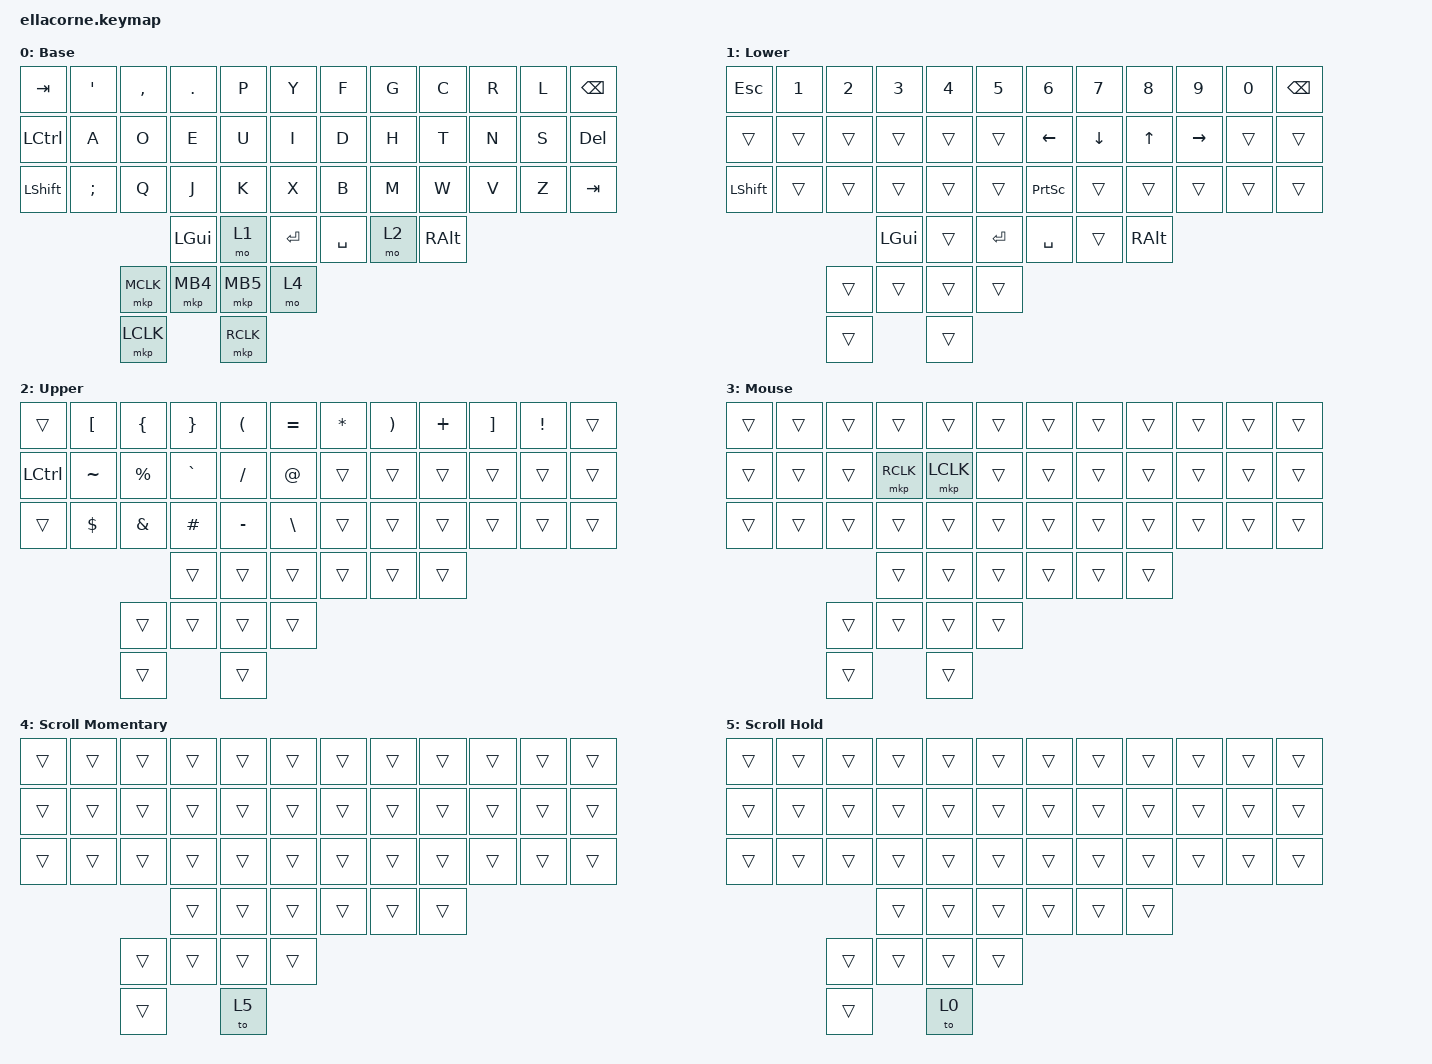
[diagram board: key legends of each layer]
/*
 * Copyright (c) 2020 The ZMK Contributors
 *
 * SPDX-License-Identifier: MIT
 */

#include <behaviors.dtsi>
#include <dt-bindings/zmk/keys.h>
#include <dt-bindings/zmk/bt.h>
#include <dt-bindings/zmk/pointing.h>
#include <dt-bindings/zmk/outputs.h>
#include <input/processors.dtsi>

&mkp_input_listener {
    input-processors = <&zip_temp_layer 3 2000>;

};





/ {
        combos {
                        compatible = "zmk,combos";
                        combo_esc {
                                timeout-ms = <50>;
                                key-positions = <2 3>;
                                bindings = <&mkp RCLK>;
                        };
                };
        behaviors {
                ltm: layer-tap-momentary {
                        compatible = "zmk,behavior-hold-tap";
                        #binding-cells = <2>;
                        flavor = "tap-preferred";
                        tapping-term-ms = <200>;
                        bindings = <&mo>, <&mkp>;
                };
                lth: layer-tap-hold-while-undecided {
                        compatible = "zmk,behavior-hold-tap";
                        #binding-cells = <2>;
                        flavor = "hold-preferred";
                        hold-while-undecided;
                        tapping-term-ms = <150>;
                        bindings = <&mo>, <&mkp>;
                };
                mto: momentary-or-toggle {
                        compatible = "zmk,behavior-hold-tap";
                        #binding-cells = <2>;
                        flavor = "hold-preferred";
                        hold-while-undecided;
                        tapping-term-ms = <200>;
                        bindings = <&mo>, <&to>;
                };
        };

        keymap {
                compatible = "zmk,keymap";

                default_layer {
                        display-name = "Base";
                        // -----------------------------------------------------------------------------------------
                        // |TAB:ESC   | ; : | , < | . > |  P  |  Y  |         | F   |  G   |  C  |  R  |  L  | BKSP |
                        // | CTRL     |  A  |  O  |  E  |  U  |  I  |         |  D  |  H   |  T  |  N  |  S  |  DEL |
                        // | LSFT:CAP |' "  | q @ | J   | K   |  X  |         |  B  |  M   |  W  |  V  |  Z  | TAB  |
                        //                        | GUI | LWR | SPC |         | ENT | RSE  | ALT |
                        //                                         trackball
                        //                               | BTN1 | BTN2 | BTN3 | Scrollm | 
                        //                               | BTN5 |             | BTN6 |                    
                                                bindings = <
                        &kp TAB     &kp APOS  &kp COMMA &kp DOT &kp P &kp Y                   &kp F &kp G  &kp C     &kp R   &kp L    &kp BSPC
                        &kp LCTRL  &kp A    &kp O   &kp E  &kp U &kp I                   &kp D &kp H  &kp T     &kp N   &kp S    &kp DEL
                        &kp LSHIFT  &kp SEMI &kp Q  &kp J  &kp K &kp X                   &kp B &kp M  &kp W     &kp V   &kp Z    &kp TAB
                                                &kp LGUI &mo 1 &kp RET                  &kp SPACE   &mo 2 &kp RALT
                                                                // trackball
                                                &mkp MCLK &mkp MB4 &mkp MB5  &mo 4
                                                &mkp LCLK                    &mkp RCLK
                        >;
               };

                lower_layer {
                        display-name = "Lower";
                                // -----------------------------------------------------------------------------------------
                                // |  TAB |  1  |  2  |  3  |  4  |  5  |   |  6  |  7  |  8  |  9  |  0  | BKSP |
                                // | BTCLR| BT1 | BT2 | BT3 | BT4 | BT5 |   | LFT | DWN |  UP | RGT |     |      |
                                // | SHFT |     |     |     |     |     |   |     |     |     |     |     |      |
                                //                    | GUI |     | SPC |   | ENT |     | ALT |
                        bindings = <
                                &kp ESC    &kp N1       &kp N2       &kp N3       &kp N4       &kp N5         &kp N6   &kp N7   &kp N8 &kp N9    &kp N0 &kp BSPC
                                &trans     &trans       &trans       &trans       &trans       &trans         &kp LEFT &kp DOWN &kp UP &kp RIGHT &trans &trans
                                &kp LSHFT  &trans       &trans       &trans       &trans       &trans         &kp PSCRN   &trans   &trans &trans    &trans &trans
                                                                &kp LGUI     &trans       &kp RET      &kp SPACE  &trans   &kp RALT
                                                                // trackball
                                                        &trans &trans &trans &trans 
                                                        &trans                &trans
                        >;
                };

                raise_layer {
                        display-name = "Upper";
                                // -----------------------------------------------------------------------------------------
                                // |  ESC |  [  |  {  |  }  |  (  |  =  |       |  *  |  )  |  +  |  ]  |  !  | DEL  |
                                // | CTRL |  ~  |  %  |  `  | / ? | @ ^ |       |     |     |     |     |     |      |
                                // | SHFT |  $  |  &  |  #  | - _ | \ | |       |     |     |     |     |     |      |
                                //                    | GUI |     | SPC |       | ENT |     | ALT |
                        bindings = <
                                &trans     &kp LBKT    &kp LBRC     &kp RBRC     &kp LPAR    &kp EQUAL       &kp STAR    &kp RPAR  &kp PLUS  &kp RBKT  &kp EXCL   &trans    
                                &kp LCTRL  &kp TILDE   &kp PRCNT    &kp GRAVE    &kp SLASH     &kp AT        &trans      &trans    &trans    &trans    &trans     &trans
                                &trans     &kp DLLR    &kp AMPS     &kp HASH     &kp MINUS    &kp BACKSLASH         &trans      &trans    &trans    &trans    &trans     &trans
                                                                &trans       &trans      &trans          &trans      &trans    &trans
                                                                // trackball
                                                        &trans &trans &trans &trans 
                                                        &trans                &trans
                        >;
                };

                mouse_layer {
                        display-name = "Mouse";
                                // -----------------------------------------------------------------------------------------
                                // |      |     |     |     |     |     |       |     |     |     |     |     |      |
                                // |      |     |     |     |  RC |  LC |       |     |     |     |     |     |      |
                                // |      |     |     |     |     |     |       |     |     |     |     |     |      |
                                //                    |     |     |     |       |     |     |     |
                        bindings = <
                                &trans  &trans  &trans  &trans  &trans  &trans          &trans      &trans    &trans    &trans    &trans     &trans    
                                &trans  &trans  &trans  &mkp RCLK  &mkp LCLK  &trans          &trans      &trans    &trans    &trans    &trans     &trans
                                &trans  &trans  &trans  &trans  &trans  &trans          &trans      &trans    &trans    &trans    &trans     &trans
                                                        &trans  &trans  &trans          &trans      &trans    &trans
                                                                // trackball
                                                        &trans &trans &trans &trans 
                                                        &trans                &trans
                        >;
                };

                scrollm_layer {
                        display-name = "Scroll Momentary";
                                // -----------------------------------------------------------------------------------------
                                // |      |     |     |     |     |     |       |     |     |     |     |     |      |
                                // |      |     |     |     |     |     |       |     |     |     |     |     |      |
                                // |      |     |     |     |     |     |       |     |     |     |     |     |      |
                                //                    |     |     |     |       |     |     |     |
                        bindings = <
                                &trans  &trans  &trans  &trans  &trans  &trans          &trans      &trans    &trans    &trans    &trans     &trans    
                                &trans  &trans  &trans  &trans  &trans  &trans          &trans      &trans    &trans    &trans    &trans     &trans
                                &trans  &trans  &trans  &trans  &trans  &trans          &trans      &trans    &trans    &trans    &trans     &trans
                                                        &trans  &trans  &trans          &trans      &trans    &trans
                                                                // trackball
                                                        &trans &trans &trans &trans 
                                                        &trans               &to 5
                        >;
                };

                scrollh_layer {
                        display-name = "Scroll Hold";
                                // -----------------------------------------------------------------------------------------
                                // |      |     |     |     |     |     |       |     |     |     |     |     |      |
                                // |      |     |     |     |     |     |       |     |     |     |     |     |      |
                                // |      |     |     |     |     |     |       |     |     |     |     |     |      |
                                //                    |     |     |     |       |     |     |     |
                        bindings = <
                                &trans  &trans  &trans  &trans  &trans  &trans          &trans      &trans    &trans    &trans    &trans     &trans    
                                &trans  &trans  &trans  &trans  &trans  &trans          &trans      &trans    &trans    &trans    &trans     &trans
                                &trans  &trans  &trans  &trans  &trans  &trans          &trans      &trans    &trans    &trans    &trans     &trans
                                                        &trans  &trans  &trans          &trans      &trans    &trans
                                                                // trackball
                                                        &trans  &trans &trans &trans 
                                                        &trans                &to 0
                        >;
                };
        };
};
